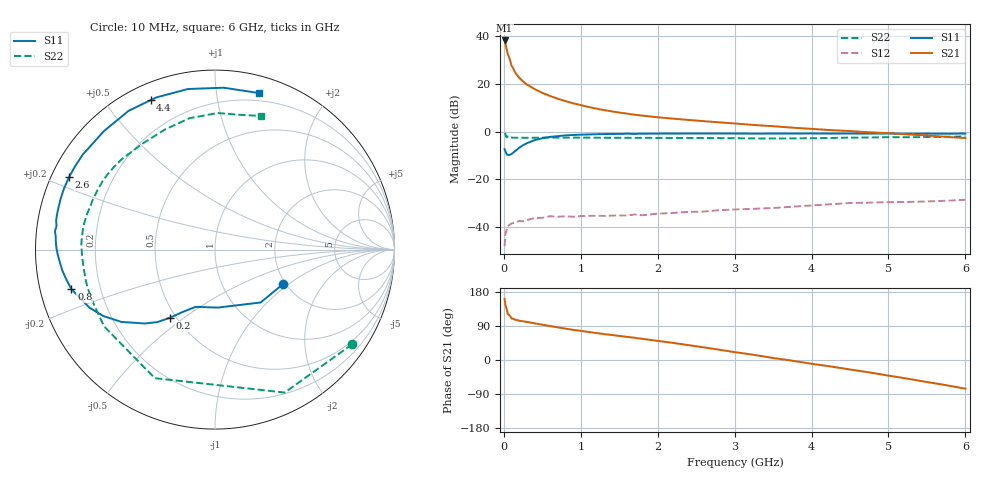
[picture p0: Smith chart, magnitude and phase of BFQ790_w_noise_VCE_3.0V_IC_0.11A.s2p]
! Infineon Technologies  Discrete & RF Semiconductors
! BFQ790
! VCE =  3.0 V,  IC = 0.11 A
! Common Emitter S-Parameters:  May 2015
# GHz  S  MA  R  50
!  f  S11  S21  S12  S22
! GHz  MAG  ANG  MAG  ANG  MAG  ANG  MAG  ANG
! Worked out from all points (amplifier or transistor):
!   77 points, 10 MHz to 6 GHz, reference 50 ohm
!   highest |S21| = 38.3 dB at 10 MHz (marker M1)
!   |S21| within 3 dB of that: start of sweep to 32.72 MHz
!   unconditionally stable (mu >= 1): 264.9 MHz to 352.2 MHz; 1.117 GHz to end of sweep
!   at 130 MHz: K = 0.70, MSG = 32.2 dB, |S12| = -38.3 dB
!   at 2.2 GHz: K = 1.22, MAG = 17.0 dB, |S12| = -34.2 dB
!   at 6 GHz: K = 1.22, MAG = 10.2 dB, |S12| = -28.7 dB
!   lowest NFmin = 2.66 dB at 1.5 GHz
!   S11 on the Smith chart (normalised r, x): 10 MHz: 1.93, -0.91; 200 MHz: 0.46, -0.44; 800 MHz: 0.09, -0.13; 2.6 GHz: 0.05, +0.23; 4.4 GHz: 0.07, +0.66; 6 GHz: 0.13, +1.31
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0.01  0.4245 -27.0  81.88 161.1  0.0039 69.6  0.9287 -34.6
0.02  0.3893 -49.2  70.99 145.5  0.007 54.7  0.8861 -64.0
0.05  0.3234 -87.2  43 121.6  0.0103 30.7  0.7909 -115.1
0.1  0.3369 -108.8  24.32 109.9  0.0117 18.2  0.7516 -145.3
0.15  0.3916 -117.4  17.13 106.1  0.0123 18.6  0.741 -157.4
0.2  0.4563 -123.6  13.47 103.8  0.0132 19.7  0.7411 -164.0
0.25  0.5163 -128.5  11.25 102.2  0.013 15.5  0.7392 -168.3
0.3  0.5686 -133.6  9.695 100.4  0.0137 16.5  0.7388 -171.4
0.4  0.659 -142.3  7.766 96.7  0.0153 14.0  0.7405 -176.1
0.5  0.7235 -149.2  6.485 93.1  0.0154 10.2  0.7426 -179.5
0.6  0.7708 -155.2  5.591 89.6  0.0166 10.6  0.7451 177.8
0.7  0.7995 -160.4  4.882 86.1  0.0162 11.6  0.7452 175.5
0.8  0.8298 -164.6  4.365 82.8  0.0166 5.2  0.7445 173.7
1.1  0.8673 -175.3  3.283 74.0  0.0169 6.4  0.7434 168.5
1.5  0.8905 175.3  2.501 63.5  0.0172 6.6  0.7375 162.9
2.1  0.9033 164.0  1.926 47.9  0.0191 4.5  0.7337 154.2
2.6  0.9081 153.5  1.649 33.3  0.0208 1.2  0.731 144.9
3.1  0.904 142.1  1.433 18.0  0.0233 -4.4  0.7197 133.7
4.1  0.9078 119.8  1.109 -12.8  0.0286 -16.6  0.7265 110.3
4.4  0.9066 113.3  1.04 -21.8  0.0307 -21.7  0.7392 103.2
5.1  0.903 97.1  0.9 -44.4  0.0329 -35.2  0.7598 86.8
6  0.9062 74.2  0.731 -75.8  0.0368 -53.4  0.7879 71.0
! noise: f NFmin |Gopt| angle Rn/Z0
0.45  4.14  0.4  133  0.41
0.9  2.96  0.54  164  0.14
1.5  2.66  0.66  -175  0.07
1.8  2.77  0.68  -169  0.08
2.6  3.18  0.72  -153  0.2
3.5  3.77  0.83  -136  0.49
